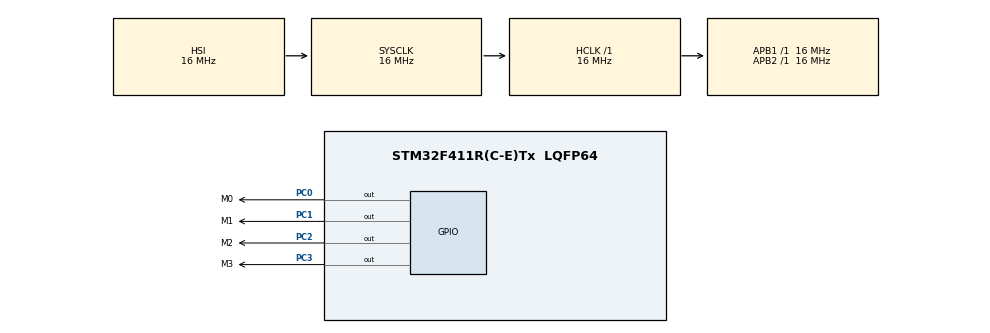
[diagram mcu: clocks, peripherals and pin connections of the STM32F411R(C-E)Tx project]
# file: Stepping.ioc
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Mcu.Family=STM32F4
Mcu.Name=STM32F411R(C-E)Tx
Mcu.Package=LQFP64
NVIC.PriorityGroup=NVIC_PRIORITYGROUP_4
PC0.GPIO_Label=M0
PC0.Signal=GPIO_Output
PC1.GPIO_Label=M1
PC1.Signal=GPIO_Output
PC2.GPIO_Label=M2
PC2.Signal=GPIO_Output
PC3.GPIO_Label=M3
PC3.Signal=GPIO_Output
ProjectManager.HeapSize=0x200
ProjectManager.StackSize=0x400
ProjectManager.TargetToolchain=STM32CubeIDE
RCC.AHBFreq_Value=16000000
RCC.APB1Freq_Value=16000000
RCC.APB2Freq_Value=16000000
RCC.CortexFreq_Value=16000000
RCC.HSE_VALUE=25000000
RCC.HSI_VALUE=16000000
RCC.LSE_VALUE=32768
RCC.SYSCLKFreq_VALUE=16000000
RCC.VCOOutputFreq_Value=192000000
board=custom

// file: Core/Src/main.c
/* USER CODE BEGIN Header */
/**
  ******************************************************************************
  * @file           : main.c
  * @brief          : Main program body
  ******************************************************************************
  * @attention
  *
  * Copyright (c) 2023 STMicroelectronics.
  * All rights reserved.
  *
  * This software is licensed under terms that can be found in the LICENSE file
  * in the root directory of this software component.
  * If no LICENSE file comes with this software, it is provided AS-IS.
  *
  ******************************************************************************
  */
/* USER CODE END Header */
#include "main.h"

void SystemClock_Config(void);
static void MX_GPIO_Init(void);

/* USER CODE BEGIN 0 */
void setMotor(int dir, int angle)
{
	uint8_t stepLut[] =
	{ 0b1000, 0b1010, 0b0010, 0b0110, 0b0100, 0b0101, 0b0001, 0b1001 };
	static int curStep = 0;
	if(dir)
	{
		curStep++;
		curStep %= 8;
	}
	else
	{
		curStep--;
		if(curStep < 0)
			curStep = 7;
	}

	/* IDR : To avoid affecting other ports.
	 * (fff0 = 1111 1111 1111 0000 & IDR) | stepLut[curStep]
	 * each bits correspond to each pin.
	 */
	GPIOC->ODR = (GPIOC->IDR & 0xfff0) | stepLut[curStep]; // same with under 4 lines.
	/*HAL_GPIO_WritePin(M0_GPIO_Port, M0_Pin, (stepLut[curStep] & 1) > 0 ? 1 : 0);
	HAL_GPIO_WritePin(M1_GPIO_Port, M1_Pin, (stepLut[curStep] & 2) > 0 ? 1 : 0);
	HAL_GPIO_WritePin(M2_GPIO_Port, M2_Pin, (stepLut[curStep] & 4) > 0 ? 1 : 0);
	HAL_GPIO_WritePin(M3_GPIO_Port, M3_Pin, (stepLut[curStep] & 8) > 0 ? 1 : 0);*/
}
/* USER CODE END 0 */

int main(void)
{

  /* MCU Configuration--------------------------------------------------------*/

  /* Reset of all peripherals, Initializes the Flash interface and the Systick. */
  HAL_Init();

  /* Configure the system clock */
  SystemClock_Config();

  /* Initialize all configured peripherals */
  MX_GPIO_Init();

  /* Infinite loop */
  while (1)
  {

    /* USER CODE BEGIN 3 */
  	for(int i = 0; i < 5000; i++)
  	{
  		setMotor(1,0);
  		HAL_Delay(1);
  	}
  	for(int i = 0; i < 5000; i++)
  	{
  		setMotor(0,0);
  		HAL_Delay(1);
  	}
  }
  /* USER CODE END 3 */
}

void SystemClock_Config(void)
{
  RCC_OscInitTypeDef RCC_OscInitStruct = {0};
  RCC_ClkInitTypeDef RCC_ClkInitStruct = {0};

  /** Configure the main internal regulator output voltage
  */
  __HAL_RCC_PWR_CLK_ENABLE();
  __HAL_PWR_VOLTAGESCALING_CONFIG(PWR_REGULATOR_VOLTAGE_SCALE1);

  /** Initializes the RCC Oscillators according to the specified parameters
  * in the RCC_OscInitTypeDef structure.
  */
  RCC_OscInitStruct.OscillatorType = RCC_OSCILLATORTYPE_HSI;
  RCC_OscInitStruct.HSIState = RCC_HSI_ON;
  RCC_OscInitStruct.HSICalibrationValue = RCC_HSICALIBRATION_DEFAULT;
  RCC_OscInitStruct.PLL.PLLState = RCC_PLL_NONE;
  if (HAL_RCC_OscConfig(&RCC_OscInitStruct) != HAL_OK)
  {
    Error_Handler();
  }

  /** Initializes the CPU, AHB and APB buses clocks
  */
  RCC_ClkInitStruct.ClockType = RCC_CLOCKTYPE_HCLK|RCC_CLOCKTYPE_SYSCLK
                              |RCC_CLOCKTYPE_PCLK1|RCC_CLOCKTYPE_PCLK2;
  RCC_ClkInitStruct.SYSCLKSource = RCC_SYSCLKSOURCE_HSI;
  RCC_ClkInitStruct.AHBCLKDivider = RCC_SYSCLK_DIV1;
  RCC_ClkInitStruct.APB1CLKDivider = RCC_HCLK_DIV1;
  RCC_ClkInitStruct.APB2CLKDivider = RCC_HCLK_DIV1;

  if (HAL_RCC_ClockConfig(&RCC_ClkInitStruct, FLASH_LATENCY_0) != HAL_OK)
  {
    Error_Handler();
  }
}

static void MX_GPIO_Init(void)
{
  GPIO_InitTypeDef GPIO_InitStruct = {0};

  /* GPIO Ports Clock Enable */
  __HAL_RCC_GPIOC_CLK_ENABLE();

  /*Configure GPIO pin Output Level */
  HAL_GPIO_WritePin(GPIOC, M0_Pin|M1_Pin|M2_Pin|M3_Pin, GPIO_PIN_RESET);

  /*Configure GPIO pins : M0_Pin M1_Pin M2_Pin M3_Pin */
  GPIO_InitStruct.Pin = M0_Pin|M1_Pin|M2_Pin|M3_Pin;
  GPIO_InitStruct.Mode = GPIO_MODE_OUTPUT_PP;
  GPIO_InitStruct.Pull = GPIO_NOPULL;
  GPIO_InitStruct.Speed = GPIO_SPEED_FREQ_LOW;
  HAL_GPIO_Init(GPIOC, &GPIO_InitStruct);

}

void Error_Handler(void)
{
  __disable_irq();
  while (1)
  {
  }
}
